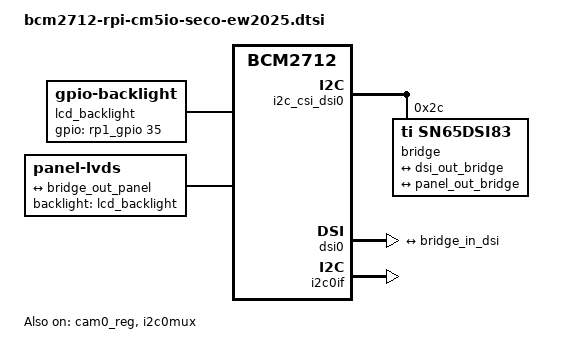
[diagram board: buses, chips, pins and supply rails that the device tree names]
&i2c_csi_dsi0 {
    status = "okay";

    bridge@2c {
		compatible = "ti,sn65dsi83";
		reg = <0x2c>;

		ports {
			#address-cells = <1>;
			#size-cells = <0>;

			port@0 {
				reg = <0>;

				bridge_in_dsi: endpoint {
					remote-endpoint = <&dsi_out_bridge>;
					data-lanes = <0 1 2 3>;
				};
			};

			port@2 {
				reg = <2>;

				bridge_out_panel: endpoint {
					remote-endpoint = <&panel_out_bridge>;
				};
			};
		};
	};
};

&dsi0 {
    status = "okay";

    port {
        dsi_out_bridge: endpoint {
            remote-endpoint = <&bridge_in_dsi>;
			data-lanes = <0 1 2 3>;
		};
    };
};

&cam0_reg {
	status = "okay";
	pinctrl-names = "default";
	pinctrl-0 = <&rp1_gpio_34>;
	gpio = <&rp1_gpio 34 GPIO_ACTIVE_HIGH>;
	regulator-always-on;
};

/ {
#if 0
	cam0_reg_pwm: cam0_reg_pwm {
		compatible = "regulator-fixed";
		regulator-name = "cam0_reg_pwm";
		enable-active-high;
		status = "okay";
		gpio = <&rp1_gpio 35 GPIO_ACTIVE_HIGH>;
		pinctrl-names = "default";
		pinctrl-0 = <&rp1_gpio_35>;
		regulator-always-on;
	};
#endif
	lcd_backlight: lcd-backlight {
		compatible = "gpio-backlight";
		gpios = <&rp1_gpio 35 GPIO_ACTIVE_HIGH>;
		pinctrl-names = "default";
		pinctrl-0 = <&rp1_gpio_35>;
		default-on;
		status = "okay";
	};

	panel: panel {
		compatible = "panel-lvds";
		width-mm = <217>;
		height-mm = <136>;
		data-mapping = "vesa-24";
		backlight = <&lcd_backlight>;
		status = "okay";

		panel-timing {
			clock-frequency = <71100000>;
			hactive = <1280>;
			vactive = <800>;
			hfront-porch = <50>;
			hsync-len = <60>;
			hback-porch = <50>;
			vfront-porch = <7>;
			vsync-len = <9>;
			vback-porch = <7>;
		};

		port {
			panel_out_bridge: endpoint {
				remote-endpoint = <&bridge_out_panel>;
			};
		};
	};
};

&rp1_gpio {
	rp1_gpio_34: rp1_gpio_34 {
		function = "gpio";
		pins = "gpio34";
	};
	rp1_gpio_35: rp1_gpio_35 {
		function = "gpio";
		pins = "gpio35";
	};
};

&i2c0if {
	status = "okay";
};

&i2c0mux {
	status = "okay";
};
